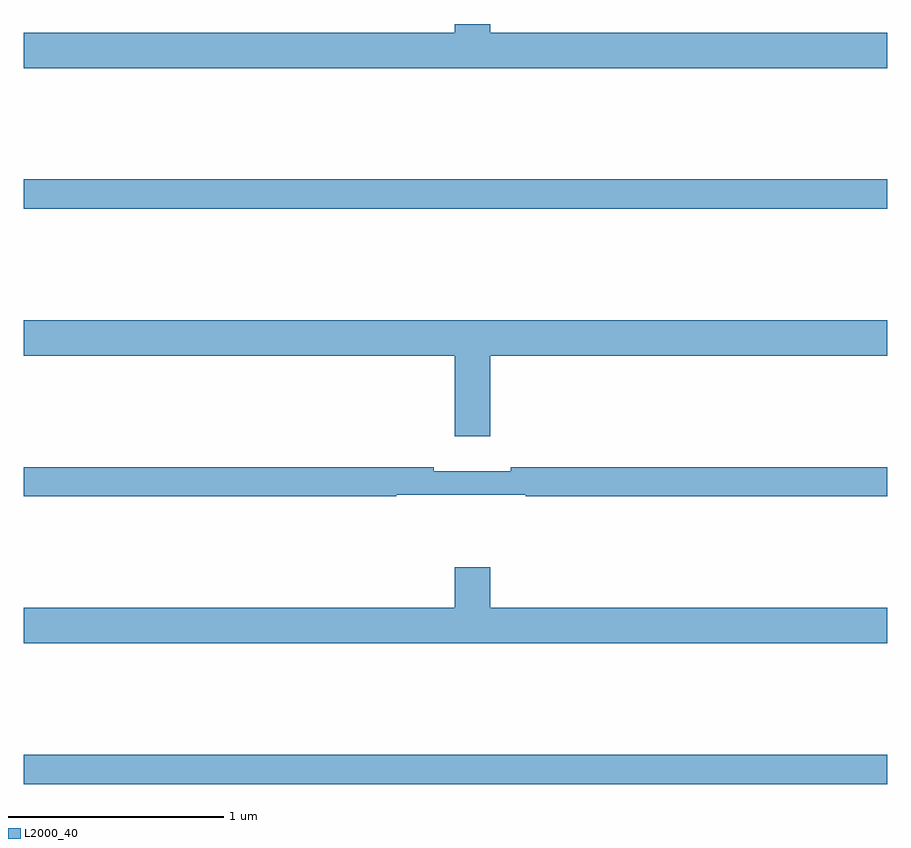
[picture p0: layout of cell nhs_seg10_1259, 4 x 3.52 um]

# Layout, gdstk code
import gdstk
lib = gdstk.Library(unit=1e-6, precision=1e-09)
def R(c, l, rs):  # rectangles x0, y0, x1, y1
    for r in rs: c.add(gdstk.rectangle(r[:2], r[2:], *l))
def P(c, l, *ps):  # polygons
    for p in ps: c.add(gdstk.Polygon(p, *l))
L2000_40 = (2000, 40)

nhs_seg10_1259 = lib.new_cell('nhs_seg10_1259')
R(nhs_seg10_1259, L2000_40, [(175,1316.98,179,1317.116), (175,1319.644,179,1319.78)])
P(nhs_seg10_1259, L2000_40, [(179,1320.46),(177.16,1320.46),(177.16,1320.5),(176.996,1320.5),(176.996,1320.46),(175,1320.46),(175,1320.296),(179,1320.296)],
  [(177.16,1318.964),(179,1318.964),(179,1319.128),(175,1319.128),(175,1318.964),(176.996,1318.964),(176.996,1318.59),(177.16,1318.59)],
  [(176.725,1318.32),(177.325,1318.32),(177.325,1318.312),(179,1318.312),(179,1318.448),(177.256,1318.448),(177.256,1318.429),(176.9,1318.429),(176.9,1318.448),(175,1318.448),(175,1318.312),(176.725,1318.312)],
  [(179,1317.796),(177.16,1317.796),(177.16,1317.985),(176.996,1317.985),(176.996,1317.796),(175,1317.796),(175,1317.632),(179,1317.632)])

lib.write_gds('nhs_seg10_1259.gds')
